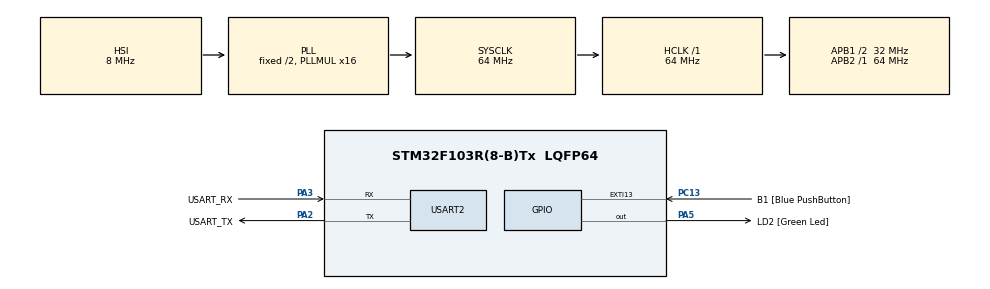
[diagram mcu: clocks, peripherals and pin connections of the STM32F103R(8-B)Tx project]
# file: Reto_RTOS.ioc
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FREERTOS.Tasks01=defaultTask,-3,128,StartDefaultTask,Default,NULL,Dynamic,NULL,NULL
FREERTOS.configUSE_NEWLIB_REENTRANT=1
Mcu.Family=STM32F1
Mcu.Name=STM32F103R(8-B)Tx
Mcu.Package=LQFP64
NVIC.EXTI15_10_IRQn=true\:5\:0\:false\:false\:true\:true\:true\:true\:true
NVIC.PriorityGroup=NVIC_PRIORITYGROUP_4
NVIC.TIM4_IRQn=true\:15\:0\:false\:false\:true\:false\:false\:true\:true
NVIC.TimeBase=TIM4_IRQn
NVIC.TimeBaseIP=TIM4
PA13.GPIO_Label=TMS
PA13.Mode=Serial_Wire
PA13.Signal=SYS_JTMS-SWDIO
PA14.GPIO_Label=TCK
PA14.Mode=Serial_Wire
PA14.Signal=SYS_JTCK-SWCLK
PA2.GPIO_Label=USART_TX
PA2.GPIO_Mode=GPIO_MODE_AF_PP
PA2.GPIO_PuPd=GPIO_NOPULL
PA2.GPIO_Speed=GPIO_SPEED_FREQ_LOW
PA2.Mode=Asynchronous
PA2.Signal=USART2_TX
PA3.GPIO_Label=USART_RX
PA3.GPIO_Mode=GPIO_MODE_AF_PP
PA3.GPIO_PuPd=GPIO_NOPULL
PA3.GPIO_Speed=GPIO_SPEED_FREQ_LOW
PA3.Mode=Asynchronous
PA3.Signal=USART2_RX
PA5.GPIO_Label=LD2 [Green Led]
PA5.GPIO_ModeDefaultOutputPP=GPIO_MODE_OUTPUT_PP
PA5.GPIO_PuPd=GPIO_NOPULL
PA5.GPIO_Speed=GPIO_SPEED_FREQ_LOW
PA5.Signal=GPIO_Output
PB3.GPIO_Label=SWO
PB3.Signal=SYS_JTDO-TRACESWO
PC13-TAMPER-RTC.GPIO_Label=B1 [Blue PushButton]
PC13-TAMPER-RTC.GPIO_PuPd=GPIO_NOPULL
PC13-TAMPER-RTC.Signal=GPXTI13
PC14-OSC32_IN.Mode=LSE-External-Oscillator
PC14-OSC32_IN.Signal=RCC_OSC32_IN
PC15-OSC32_OUT.Mode=LSE-External-Oscillator
PC15-OSC32_OUT.Signal=RCC_OSC32_OUT
PD0-OSC_IN.Mode=HSE-External-Clock-Source
PD0-OSC_IN.Signal=RCC_OSC_IN
PD1-OSC_OUT.Mode=HSE-External-Clock-Source
PD1-OSC_OUT.Signal=RCC_OSC_OUT
ProjectManager.HeapSize=0x200
ProjectManager.StackSize=0x400
ProjectManager.TargetToolchain=STM32CubeIDE
RCC.AHBFreq_Value=64000000
RCC.APB1CLKDivider=RCC_HCLK_DIV2
RCC.APB1Freq_Value=32000000
RCC.APB1TimFreq_Value=64000000
RCC.APB2Freq_Value=64000000
RCC.APB2TimFreq_Value=64000000
RCC.HCLKFreq_Value=64000000
RCC.PLLMUL=RCC_PLL_MUL16
RCC.RTCClockSelection=RCC_RTCCLKSOURCE_LSE
RCC.SYSCLKFreq_VALUE=64000000
RCC.SYSCLKSource=RCC_SYSCLKSOURCE_PLLCLK
RCC.USBFreq_Value=64000000
USART2.VirtualMode=VM_ASYNC
VP_FREERTOS_VS_CMSIS_V1.Mode=CMSIS_V1
VP_SYS_VS_tim4.Mode=TIM4
board=NUCLEO-F103RB

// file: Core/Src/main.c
/* USER CODE BEGIN Header */
/**
  ******************************************************************************
  * @file           : main.c
  * @brief          : Main program body
  ******************************************************************************
  * @attention
  *
  * Copyright (c) 2024 STMicroelectronics.
  * All rights reserved.
  *
  * This software is licensed under terms that can be found in the LICENSE file
  * in the root directory of this software component.
  * If no LICENSE file comes with this software, it is provided AS-IS.
  *
  ******************************************************************************
  */
/* USER CODE END Header */
#include "main.h"
#include "cmsis_os.h"
#include <stdint.h>
#include "uart.h"
#include "lcd.h"
#include <stddef.h>
#include <stdio.h>              /* This ert_main.c example uses printf/fflush */
#include "EngTrModel.h"         /* Model's header file */
#include "rtwtypes.h"
#include "keypad.h"

/* USER CODE BEGIN PTD */
#define USER_B1	( GPIOC->IDR & ( 0x1UL << 13U )) //GPIOC Pin 13

//Definiciones necesarias
#define SYSCLK             64000000
#define T_HCLK             ( 1.0 / SYSCLK )
#define TIM_TIME_1S        1.0
#define TIM_PRESC_1S       ( ceil( TIM_TIME_1S / ( T_HCLK * (( 65535 + 1) - 0 ))) - 1 )
#define TIM_INIT_COUNT_1S  (( 65535 + 1 ) - ( round( TIM_TIME_1S / ( T_HCLK * ( TIM_PRESC_1S + 1 )))))

#define PERIOD_T1		200
#define PERIOD_T2		2000
#define PERIOD_T3		6000
#define PERIOD_T4		500
#define TICK_DIFF_T1	(osKernelSysTick() - (PERIOD_T1*counter++))
#define TICK_DIFF_T2	(osKernelSysTick() - (PERIOD_T2*counter++))
#define TICK_DIFF_T3	(osKernelSysTick() - (PERIOD_T3*counter++))
#define TICK_DIFF_T4	(osKernelSysTick() - (PERIOD_T4*counter++))

/* USER CODE END PTD */

UART_HandleTypeDef huart2;

osThreadId defaultTaskHandle;
osThreadId Task1Handle;
osThreadId Task2Handle;
osThreadId Task3Handle;
osThreadId Task4Handle;
osThreadId defaultTask;
osThreadId Task1;
osThreadId Task2;
osThreadId Task3;
osThreadId Task4;
osThreadId Sender1Handle;
osThreadId Sender2Handle;
osThreadId ReceiverHandle;
osMessageQId Queue1Handle;
osMessageQId Queue2Handle;
osMutexId myMutex01Handle;

void SystemClock_Config(void);
static void MX_GPIO_Init(void);
static void MX_USART2_UART_Init(void);
void StartDefaultTask(void const * argument);
void StartTask1(void const * argument);
void StartTask2(void const * argument);
void StartTask3(void const * argument);
void StartTask4(void const * argument);
void StartSender1(void const * argument);
void StartSender2(void const * argument);
void StartReceiver(void const * argument);

void Task1_Init(void);
void USER_Measure_Task1(void);
void USER_TIM2_Init();
void USER_ADC1_Enable(void);
void USER_TIM2_Init();
void turnLEDR(void);
void turnLEDL(void);
int USER_ADC1_Start(void);

//volatile float throttle = 0.0;
//char direction;
int counter = 0;

/* USER CODE BEGIN 0 */
int _write(int file, char *ptr, int len){
	int DataIdx;
	for(DataIdx = 0; DataIdx< len; DataIdx++){
		while(!(USART2->SR & USART_SR_TXE));
		USART2 -> DR = *ptr++;
	}
	return len;
}
/* USER CODE END 0 */

void StartTask1(void const * argument)
{
  Task1_Init();//Init KEYPAD y ADC1
  osStatus status;
  osEvent adc;
  osEvent keypad1;
  uint8_t dataRX = USER_USART1_Receive();
  printf("R: %i\r\n",dataRX);
  for(;;)
  {
	osMutexWait(myMutex01Handle, osWaitForever);
	//printf("T1\r\n");
	adc = osMessageGet(Queue1Handle, 10);
	int aceleracion = adc.value.v;
	keypad1 = osMessageGet(Queue2Handle, 10);
	int keypad = keypad1.value.v;
	USER_TIM2_Delay((uint16_t)TIM_50MS_PSC, (uint16_t)TIM_50MS_CNT);
	if((keypad == 50) || (dataRX == 50)){ //50
		EngTrModel_U.Throttle = 1.45;
		EngTrModel_U.BrakeTorque = 200.0;
	}
	else if((keypad == 49) || (keypad == 51) || (dataRX == 49) || (dataRX == 51) ){ //l es 108. r es 114
		if((keypad== 49)|| (dataRX == 49)){
			turnLEDL();
		}
		else if((keypad == 51)|| (dataRX == 51)){
			turnLEDR();
		}
	}
	else if (aceleracion > 0 && keypad == 0){
		EngTrModel_U.Throttle = aceleracion;
		EngTrModel_U.BrakeTorque = 0.0;
	}
	else{
		EngTrModel_U.Throttle = 0.0;
		EngTrModel_U.BrakeTorque = 0.0;
	}
	if(adc.status == osEventMessage)
		printf("Message received: %ld\r\n", adc.value.v);
	else
		printf("Queue is empty\r\n");
	osMutexRelease(myMutex01Handle);
	osDelay(PERIOD_T1 - TICK_DIFF_T1);
	osThreadYield();
  }
}

void StartTask2(void const * argument)
{
  //Init Task 2: no hay. Ya lo incluye el modelo
  for(;;)
  {
	  //printf("T2\r\n");
	  EngTrModel_step();
	  USER_TIM2_Delay( (uint16_t)TIM_700MS_PSC, (uint16_t)TIM_700MS_CNT);//  500ms
	  osDelay(PERIOD_T2 - TICK_DIFF_T2);
	  osThreadYield();
  }
}

void StartTask3(void const * argument)
{
  LCD_Init( );//Init Task 3
  osStatus status;
  osEvent adc;
  for(;;)
    {
	 osMutexWait(myMutex01Handle, osWaitForever);
  	//printf("T1\r\n");
    adc = osMessageGet(Queue1Handle, 10);
  	int aceleracion = adc.value.v;
	 LCD_Clear();
	 LCD_Set_Cursor(1, 1);
	 LCD_Put_Str("AC:");
	 LCD_Put_Num((int)aceleracion);
	 if((int)aceleracion == 0){
		 LCD_Put_Str("0");
	 }
	 LCD_Set_Cursor(1,8);
	 LCD_Put_Str("VS:");
	 LCD_Put_Num((int)EngTrModel_Y.VehicleSpeed);
	 LCD_Put_Str("ms");
	 if((int)EngTrModel_Y.VehicleSpeed == 0){
		 LCD_Put_Str("0");
	 }
	 LCD_Set_Cursor(2,1);
	 LCD_Put_Str("ES:");
	 if (EngTrModel_Y.EngineSpeed < 0) {
		 LCD_Put_Str("-");
		 LCD_Put_Num((int)-EngTrModel_Y.EngineSpeed);
		 LCD_Put_Str("rpm");
	 } else {
		 LCD_Put_Num((int)EngTrModel_Y.EngineSpeed);
		 LCD_Put_Str("rpm");
	 }
	 LCD_Set_Cursor(2,12);
	 LCD_Put_Str("G:");
	 LCD_Put_Num((int)EngTrModel_Y.Gear);

	 USER_TIM2_Delay( (uint16_t)TIM_700MS_PSC, (uint16_t)TIM_700MS_CNT);//  500ms
	 osMutexRelease(myMutex01Handle);
	 osDelay(PERIOD_T3 - TICK_DIFF_T3);
	 osThreadYield();
  }
}

void StartTask4(void const * argument)
{
  USER_USART1_Init(); //Init Task 4
  for(;;)
  {
	  //printf("T4\r\n");
	  printf("%i,%i,%i,%i\n\r", (int)EngTrModel_Y.VehicleSpeed, (int)EngTrModel_Y.EngineSpeed, (int)EngTrModel_Y.Gear, USER_ADC1_Start());
	  osDelay(PERIOD_T4 - TICK_DIFF_T4);
	  osThreadYield();
  }
}

void StartSender1(void const * argument){
	osStatus status;
	uint32_t aceleracion = USER_ADC1_Start();
	for(;;){
		status = osMessagePut(Queue1Handle, aceleracion, 0);
		osDelay(1000);
	    osThreadYield();

	}
}

void StartSender2(void const * argument){
	osStatus status;
	uint8_t keypad = KEYPAD_ReadKey();
	for(;;){
		status = osMessagePut(Queue2Handle, keypad, 0);
		osDelay(1000);
	    osThreadYield();
	}
}

void StartReceiver(void const * argument){
	uint32_t counter = 0;
	osStatus status;
	osEvent keypad;
	for(;;)
	{
	/* Get item from Queue with a 0 timeout */
		keypad = osMessageGet(Queue2Handle, 10);
		if(keypad.status == osEventMessage)
			printf("Msg: %ld\r\n", keypad.value.v);
		else
			printf("Queue is empty\r\n");
	osDelay(999 - (osKernelSysTick() - (999 * counter++)));
	}
}

int main(void)
{

  /* MCU Configuration--------------------------------------------------------*/

  /* Reset of all peripherals, Initializes the Flash interface and the Systick. */
  //HAL_Init();

  /* USER CODE BEGIN Init */
  //Task1_Init();//Init KEYPAD y ADC1
  	//Init Task 2: no hay. Ya lo incluye el modelo
  //LCD_Init( );//Init Task 3
  //USER_USART1_Init(); //Init Task 4
  /* USER CODE END Init */

  /* Configure the system clock */
  SystemClock_Config();

  /* Initialize all configured peripherals */
  MX_GPIO_Init();
  MX_USART2_UART_Init();

  /* Create the thread(s) */
  /* definition and creation of defaultTask */
 // osThreadDef(defaultTask, StartDefaultTask, osPriorityIdle, 0, 128);
  //defaultTaskHandle = osThreadCreate(osThread(defaultTask), NULL);

  /* USER CODE BEGIN RTOS_THREADS */
  /* add threads, ... */

  /*osThreadDef(Receiver, StartReceiver, osPriorityNormal, 0, 128);
  ReceiverHandle = osThreadCreate(osThread(Receiver), NULL);*/

  osThreadDef(Task2, StartTask2, osPriorityNormal, 0, 128);
  Task2Handle = osThreadCreate(osThread(Task2), NULL);

  osThreadDef(Task4, StartTask4, osPriorityAboveNormal, 0, 128);
  Task4Handle = osThreadCreate(osThread(Task4), NULL);

  osThreadDef(Task3, StartTask3, osPriorityBelowNormal, 0, 128);
  Task3Handle = osThreadCreate(osThread(Task3), NULL);

  osThreadDef(Task1, StartTask1, osPriorityHigh, 0, 128);
  Task1Handle = osThreadCreate(osThread(Task1), NULL);

  osThreadDef(Sender1, StartSender1, osPriorityNormal, 0, 128);
  Sender1Handle = osThreadCreate(osThread(Sender1), NULL);

  osThreadDef(Sender2, StartSender2, osPriorityNormal, 0, 128);
  Sender2Handle = osThreadCreate(osThread(Sender2), NULL);

  osMessageQDef(Queue1, 1, uint32_t);
  Queue1Handle = osMessageCreate(osMessageQ(Queue1), NULL);

  osMessageQDef(Queue2, 1, uint8_t);
  Queue2Handle = osMessageCreate(osMessageQ(Queue2), NULL);

  osMutexDef(myMutex01);
  myMutex01Handle = osMutexCreate(osMutex(myMutex01));

  /* USER CODE END RTOS_THREADS */

  /* Start scheduler */
  osKernelStart();

  /* We should never get here as control is now taken by the scheduler */

  /* Infinite loop */
  while (1)
  {

  }
}

void SystemClock_Config(void)
{
  RCC_OscInitTypeDef RCC_OscInitStruct = {0};
  RCC_ClkInitTypeDef RCC_ClkInitStruct = {0};

  /** Initializes the RCC Oscillators according to the specified parameters
  * in the RCC_OscInitTypeDef structure.
  */
  RCC_OscInitStruct.OscillatorType = RCC_OSCILLATORTYPE_HSI;
  RCC_OscInitStruct.HSIState = RCC_HSI_ON;
  RCC_OscInitStruct.HSICalibrationValue = RCC_HSICALIBRATION_DEFAULT;
  RCC_OscInitStruct.PLL.PLLState = RCC_PLL_ON;
  RCC_OscInitStruct.PLL.PLLSource = RCC_PLLSOURCE_HSI_DIV2;
  RCC_OscInitStruct.PLL.PLLMUL = RCC_PLL_MUL16;
  if (HAL_RCC_OscConfig(&RCC_OscInitStruct) != HAL_OK)
  {
    Error_Handler();
  }

  /** Initializes the CPU, AHB and APB buses clocks
  */
  RCC_ClkInitStruct.ClockType = RCC_CLOCKTYPE_HCLK|RCC_CLOCKTYPE_SYSCLK
                              |RCC_CLOCKTYPE_PCLK1|RCC_CLOCKTYPE_PCLK2;
  RCC_ClkInitStruct.SYSCLKSource = RCC_SYSCLKSOURCE_PLLCLK;
  RCC_ClkInitStruct.AHBCLKDivider = RCC_SYSCLK_DIV1;
  RCC_ClkInitStruct.APB1CLKDivider = RCC_HCLK_DIV2;
  RCC_ClkInitStruct.APB2CLKDivider = RCC_HCLK_DIV1;

  if (HAL_RCC_ClockConfig(&RCC_ClkInitStruct, FLASH_LATENCY_2) != HAL_OK)
  {
    Error_Handler();
  }
}

static void MX_USART2_UART_Init(void)
{

  huart2.Instance = USART2;
  huart2.Init.BaudRate = 115200;
  huart2.Init.WordLength = UART_WORDLENGTH_8B;
  huart2.Init.StopBits = UART_STOPBITS_1;
  huart2.Init.Parity = UART_PARITY_NONE;
  huart2.Init.Mode = UART_MODE_TX_RX;
  huart2.Init.HwFlowCtl = UART_HWCONTROL_NONE;
  huart2.Init.OverSampling = UART_OVERSAMPLING_16;
  if (HAL_UART_Init(&huart2) != HAL_OK)
  {
    Error_Handler();
  }

}

static void MX_GPIO_Init(void)
{
  GPIO_InitTypeDef GPIO_InitStruct = {0};

  /* GPIO Ports Clock Enable */
  __HAL_RCC_GPIOC_CLK_ENABLE();
  __HAL_RCC_GPIOD_CLK_ENABLE();
  __HAL_RCC_GPIOA_CLK_ENABLE();
  __HAL_RCC_GPIOB_CLK_ENABLE();

  /*Configure GPIO pin Output Level */
  HAL_GPIO_WritePin(LD2_GPIO_Port, LD2_Pin, GPIO_PIN_RESET);

  /*Configure GPIO pin : B1_Pin */
  GPIO_InitStruct.Pin = B1_Pin;
  GPIO_InitStruct.Mode = GPIO_MODE_IT_RISING;
  GPIO_InitStruct.Pull = GPIO_NOPULL;
  HAL_GPIO_Init(B1_GPIO_Port, &GPIO_InitStruct);

  /*Configure GPIO pin : LD2_Pin */
  GPIO_InitStruct.Pin = LD2_Pin;
  GPIO_InitStruct.Mode = GPIO_MODE_OUTPUT_PP;
  GPIO_InitStruct.Pull = GPIO_NOPULL;
  GPIO_InitStruct.Speed = GPIO_SPEED_FREQ_LOW;
  HAL_GPIO_Init(LD2_GPIO_Port, &GPIO_InitStruct);

  /* EXTI interrupt init*/
  HAL_NVIC_SetPriority(EXTI15_10_IRQn, 5, 0);
  HAL_NVIC_EnableIRQ(EXTI15_10_IRQn);

}

void StartDefaultTask(void const * argument)
{
  /* USER CODE BEGIN 5 */
  /* Infinite loop */
  for(;;)
  {
	printf("IT\r\n");
    HAL_Delay(1000);
  }
  /* USER CODE END 5 */
}
void Error_Handler(void)
{
  __disable_irq();
  while (1)
  {
  }
}

void Task1_Init(){
	USER_TIM2_Init();
	KEYPAD_Init();
  	USER_ADC1_Enable();
}

void USER_TIM2_Init(){
	//USER_RCC_Init();
	/* System Clock configuration for 64 Mhz */
	FLASH->ACR	&= ~( 0x5UL <<  0U );	//Two wait states latency, if SYSCLK > 48Mhz
	FLASH->ACR 	|=  ( 0x2UL <<  0U );	//Two wait states latency, if SYSCLK > 48Mhz

	RCC->CFGR	&= ~( 0x1UL << 16U )
				&  ~( 0x7UL << 11U )
				&  ~( 0x3UL <<  8U )
				&  ~( 0xFUL <<  4U );

	RCC->CFGR 	|= ( 0xFUL << 18U )
				|  ( 0x4UL <<  8U );
	RCC->CR		|= ( 0x1UL << 24U );
	while ( !(RCC->CR & ~( 0x1UL << 25U )));
	RCC->CFGR 	&= ~( 0x1UL << 0U );
	RCC->CFGR	|=  ( 0x2UL << 0U );
	while ( 0x8UL != ( RCC->CFGR & 0xCUL ));

	//USER_RCC_ClockEnable();
	//TIM2 Clock Enable
	RCC->APB1ENR |= ( 0x1UL << 0U );

	//USER_GPIO_Init()
	//TIMER INITIALIZATION/
	// Timer slave mode disabled
	TIM2->SMCR &= ~(0x1 << 0U)
			  &	 ~(0x1 << 1U)
			  &	 ~(0x1 << 2U);

	// Configure the counter mode, Upcounter and the overflow UEV-event
	TIM2->CR1 &= ~(0x1 << 6U)
			  &	 ~(0x1 << 5U)
			  &	 ~(0x1 << 4U)
			  &	 ~(0x1 << 1U);

	//Enable internal clock
	//TIM2->SMCR &= ~( 0x7UL << 0U );
	//UEV enabled
	TIM2->CR1  &= ~( 0x1UL << 1U );
	//Upcounter
	TIM2->CR1  &= ~( 0x1UL << 4U );
	//Edge-alingned mode
	TIM2->CR1  &= ~( 0x3UL << 5U );
}

void USER_ADC1_Enable(void){
  	//USER_RCC_ClockEnable();
	//IO port A clock enable
	RCC->APB2ENR |= ( 0x1UL << 2U );
	//ADC Clock Enable
	RCC->APB2ENR |= ( 0x1UL << 9U );
	//Adjust ADC input clock
	RCC->CFGR 	 |= ( 0x3UL << 14U);	// Prescaler 8

	//USER_GPIO_Init();
	//PA0 as analog input for potentiometer
	GPIOA->CRL &= ~( 0xFUL << 0 );

	//USER_ADC1_Init();
	//Select Independent Mode
	ADC1->CR1 	&= ~( 0xFUL << 16U );
	//Right Alignment and Continuous Conversion Mode
	ADC1->CR2 	|=  ( 0x1UL <<  1U );
	ADC1->CR2 	&= ~( 0x1UL << 11U );
	//Sample time of 1.5 cycles for Channel 0
	ADC1->SMPR2 &=  ~( 0x7UL << 0U );
	//1 Conversion for Regular Channels
	ADC1->SQR1	&= ~( 0xFUL << 20U );
	//Select Channel 0 for First Conversion
	ADC1->SQR3  &= ~( 0x1FUL << 0U );
	//Enable ADC Module
	ADC1->CR2	|=  ( 0x1UL << 0U );
	//Module Calibration
	ADC1->CR2 	|=  ( 0x1UL << 2U ); // Start calibration
	//Wait until calibration is complete
	while ((ADC1->CR2 & ( 0x1UL << 2U )));
}

int USER_ADC1_Start(void){
	//Conversion starts when this bit holds a value of 1 and a 1 is written to it
	ADC1->CR2	|=  ( 0x1UL << 0U );
	//Wait until conversion is done
	while (!(ADC1->SR & ( 0x1UL << 1U )));
	//Read value from
	uint16_t adc_value = ADC1->DR;
	//Reset conversion flag
	ADC1->SR &= ~( 0x1UL << 1U );
	//Return value to percentage
	return (adc_value / 4095.0) * 100;
}

void USER_TIM2_Delay(uint16_t prescaler, uint16_t counter){
	//Clear the timer UIF
	TIM2->SR   &= ~( 0x1UL << 0U );
	//Configure initial count and prescaler
	TIM2->CNT 	= counter;
	TIM2->PSC 	= prescaler;
	//Enable timer to start counting
	TIM2->CR1  |= ( 0x1UL << 0U );
	//Wait for overflow
	while (! ( TIM2->SR & ( 0x1UL << 0U ) ));
	//Stop timer
	TIM2->CR1  &= ~( 0x1UL << 0U );
}

// 50 ms delay
void USER_TIM_Delay3(uint32_t time) {
	// Set the CNT and PSC values
	time = time * 1000000;
	TIM2->PSC = ceil(time/(3.125*65536))-1;
	TIM2->CNT = 65536-(time/((TIM2->PSC+1)*3.125));

	// Clear the timer interrupt flag
	TIM2->SR  &= ~(0x1 << 0U);

	// Initialize Timer
	TIM2->CR1 |= (0x1 << 0U);

	while (!(TIM2->SR & (0x1UL << 0U)));

	// Initialize Timer
	TIM2->CR1 &= ~(0x1 << 0U);

}

//PB15 LEDR
void turnLEDR(void){
	GPIOB->BSRR	=	( 0x1UL <<  15U );//	value to set pin7 of port C
	USER_TIM2_Delay( (uint16_t)TIM_50MS_PSC, (uint16_t)TIM_50MS_CNT);
	//Buzzer PA7
	GPIOA->BSRR	=	( 0x1UL <<  7U );//	value to set pin7 of port A
	USER_TIM2_Delay( (uint16_t)TIM_50MS_PSC, (uint16_t)TIM_50MS_CNT);
	GPIOB->BSRR	=	( 0x1UL << 31U );//	value to reset pin7 of port C
	USER_TIM2_Delay( (uint16_t)TIM_50MS_PSC, (uint16_t)TIM_50MS_CNT);
	//Buzzer
	GPIOA->BSRR	=	( 0x1UL <<  23U );//	value to set pin7 of port A
	USER_TIM2_Delay( (uint16_t)TIM_50MS_PSC, (uint16_t)TIM_50MS_CNT);
}

//PB1 LEDL
void turnLEDL(void){
	GPIOB->BSRR	=	( 0x1UL <<  1U );//	value to set pin8 of port A
	USER_TIM2_Delay( (uint16_t)TIM_50MS_PSC, (uint16_t)TIM_50MS_CNT);
	//Buzzer PA7
	GPIOA->BSRR	=	( 0x1UL <<  7U );//	value to set pin7 of port A
	USER_TIM2_Delay( (uint16_t)TIM_50MS_PSC, (uint16_t)TIM_50MS_CNT);
	GPIOB->BSRR	=	( 0x1UL << 17U );//	value to reset pin8 of port A
	USER_TIM2_Delay( (uint16_t)TIM_50MS_PSC, (uint16_t)TIM_50MS_CNT);
	//Buzzer
	GPIOA->BSRR	=	( 0x1UL <<  23U );//	value to set pin7 of port A
	USER_TIM2_Delay( (uint16_t)TIM_50MS_PSC, (uint16_t)TIM_50MS_CNT);
}
